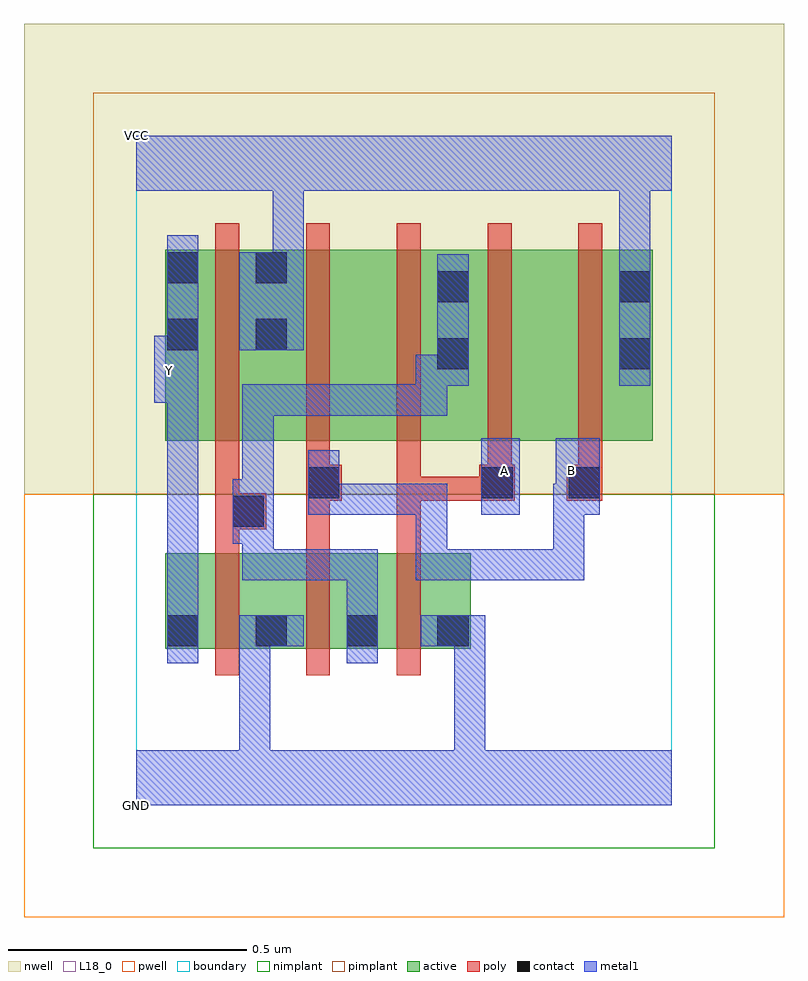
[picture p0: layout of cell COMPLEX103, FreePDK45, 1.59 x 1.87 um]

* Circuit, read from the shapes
.subckt COMPLEX103 A B GND VCC Y
M1 GND n1 Y VSUBS nfet w=0.2u l=0.05u
M2 n1 B GND VSUBS nfet w=0.2u l=0.05u
M3 GND A n1 VSUBS nfet w=0.2u l=0.05u
M4 VCC n1 Y n2 pfet w=0.4u l=0.05u
M5 n3 B VCC n2 pfet w=0.4u l=0.05u
M6 n1 A n3 n2 pfet w=0.4u l=0.05u
M7 n4 A n1 n2 pfet w=0.4u l=0.05u
M8 VCC B n4 n2 pfet w=0.4u l=0.05u
.ends

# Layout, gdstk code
import gdstk
lib = gdstk.Library(unit=1e-6, precision=1e-09)
def R(c, l, rs):  # rectangles x0, y0, x1, y1
    for r in rs: c.add(gdstk.rectangle(r[:2], r[2:], *l))
def A(c, l, x, y, w, h, nx, ny, dx, dy):  # array of equal rectangles
    R(c, l, [(x+i*dx, y+j*dy, x+i*dx+w, y+j*dy+h) for i in range(nx) for j in range(ny)])
active = (1, 0)
pwell = (2, 0)
nwell = (3, 0)
nimplant = (4, 0)
pimplant = (5, 0)
poly = (9, 0)
contact = (10, 0)
metal1 = (11, 0)
L18_0 = (18, 0)
boundary = (235, 0)

complex103 = lib.new_cell('COMPLEX103')
R(complex103, active, [(0.06,0.327,0.135,0.527), (0.06,0.327,0.32,0.527), (0.245,0.327,0.51,0.527), (0.245,0.327,0.32,0.402), (0.435,0.327,0.51,0.527), (0.435,0.327,0.7,0.527), (0.625,0.327,0.7,0.527), (0.06,0.762,0.32,1.162), (0.06,0.762,0.135,1.162), (0.245,0.762,0.475,1.162), (0.475,0.762,0.7,1.162), (0.625,0.762,0.855,1.162), (0.855,0.762,1.08,1.162), (1.005,0.762,1.08,1.122), (0.245,0.907,0.32,1.162), (0.625,0.907,0.7,1.122)])
R(complex103, pwell, [(-0.235,-0.235,1.355,0.65)])
R(complex103, nwell, [(-0.235,0.65,1.355,1.635)])
R(complex103, nimplant, [(-0.09,-0.09,1.21,0.65)])
R(complex103, pimplant, [(-0.09,0.65,1.21,1.49)])
A(complex103, poly, 0.165, 0.272, 0.05, 0.31, 3, 1, 0.19, 0)
A(complex103, poly, 0.165, 0.707, 0.05, 0.51, 5, 1, 0.19, 0)
R(complex103, poly, [(0.165,0.532,0.215,0.627), (0.355,0.532,0.405,0.687), (0.545,0.532,0.595,0.687), (0.165,0.577,0.272,0.652), (0.165,0.602,0.215,0.757), (0.355,0.637,0.43,0.712), (0.545,0.637,0.767,0.687), (0.545,0.637,0.595,0.687), (0.545,0.637,0.595,0.687), (0.545,0.637,0.595,0.687), (0.545,0.637,0.595,0.757), (0.717,0.637,0.792,0.712), (0.9,0.637,0.975,0.712), (0.355,0.662,0.405,0.757), (0.735,0.662,0.785,0.757), (0.925,0.662,0.975,0.757)])
A(complex103, contact, 0.25, 0.332, 0.065, 0.065, 3, 1, 0.19, 0)
R(complex103, contact, [(0.065,0.332,0.13,0.397), (0.202,0.582,0.267,0.647), (0.36,0.642,0.425,0.707), (0.722,0.642,0.787,0.707), (0.905,0.642,0.97,0.707), (0.63,0.912,0.695,0.977), (1.01,0.912,1.075,0.977), (0.065,0.952,0.13,1.017), (0.25,0.952,0.315,1.017), (0.63,1.052,0.695,1.117), (1.01,1.052,1.075,1.117), (0.065,1.092,0.13,1.157), (0.25,1.092,0.315,1.157)])
R(complex103, metal1, [(0,0,1.12,0.115), (0.215,0.05,0.28,0.115), (0.215,0.05,0.28,0.115), (0.215,0.05,0.28,0.115), (0.215,0.05,0.28,0.115), (0.215,0.05,0.28,0.397), (0.665,0.05,0.73,0.115), (0.665,0.05,0.73,0.115), (0.665,0.05,0.73,0.115), (0.665,0.05,0.73,0.115), (0.665,0.05,0.73,0.397), (0.065,0.297,0.13,0.432), (0.44,0.297,0.505,0.432), (0.215,0.332,0.35,0.397), (0.595,0.332,0.73,0.397), (0.065,0.367,0.13,0.907), (0.44,0.367,0.505,0.432), (0.44,0.367,0.505,0.535), (0.222,0.47,0.287,0.535), (0.222,0.47,0.505,0.535), (0.222,0.47,0.287,0.612), (0.585,0.47,0.65,0.535), (0.585,0.47,0.65,0.672), (0.585,0.47,0.805,0.535), (0.74,0.47,0.805,0.535), (0.74,0.47,0.937,0.535), (0.872,0.47,0.937,0.535), (0.872,0.47,0.937,0.672), (0.202,0.547,0.267,0.682), (0.202,0.547,0.287,0.612), (0.222,0.547,0.287,0.612), (0.222,0.547,0.287,0.88), (0.36,0.607,0.512,0.672), (0.36,0.607,0.425,0.742), (0.447,0.607,0.512,0.672), (0.447,0.607,0.65,0.672), (0.585,0.607,0.65,0.672), (0.585,0.607,0.65,0.672), (0.585,0.607,0.65,0.672), (0.722,0.607,0.802,0.767), (0.872,0.607,0.937,0.672), (0.872,0.607,0.942,0.672), (0.877,0.607,0.97,0.767), (0.222,0.815,0.287,0.88), (0.222,0.815,0.405,0.88), (0.34,0.815,0.405,0.88), (0.34,0.815,0.512,0.88), (0.447,0.815,0.512,0.88), (0.447,0.815,0.65,0.88), (0.585,0.815,0.65,0.942), (0.037,0.842,0.13,0.982), (0.585,0.877,0.695,0.942), (0.63,0.877,0.695,1.152), (1.01,0.877,1.075,1.152), (0.065,0.917,0.13,0.982), (0.065,0.917,0.13,1.192), (0.215,0.952,0.35,1.157), (1.01,1.087,1.075,1.35), (0.285,1.092,0.35,1.35), (0,1.285,1.12,1.4), (0.285,1.285,0.35,1.35), (0.285,1.285,0.35,1.35), (1.01,1.285,1.075,1.35), (1.01,1.285,1.075,1.35)])
R(complex103, L18_0, [(0,0,1.12,0.115), (0.215,0.05,0.28,0.115), (0.215,0.05,0.28,0.115), (0.215,0.05,0.28,0.115), (0.215,0.05,0.28,0.115), (0.215,0.05,0.28,0.397), (0.665,0.05,0.73,0.115), (0.665,0.05,0.73,0.115), (0.665,0.05,0.73,0.115), (0.665,0.05,0.73,0.115), (0.665,0.05,0.73,0.397), (0.065,0.297,0.13,0.432), (0.215,0.332,0.35,0.397), (0.595,0.332,0.73,0.397), (0.065,0.367,0.13,0.907), (0.585,0.47,0.65,0.535), (0.585,0.47,0.65,0.672), (0.585,0.47,0.805,0.535), (0.74,0.47,0.805,0.535), (0.74,0.47,0.937,0.535), (0.872,0.47,0.937,0.535), (0.872,0.47,0.937,0.672), (0.36,0.607,0.425,0.742), (0.36,0.607,0.512,0.672), (0.447,0.607,0.512,0.672), (0.447,0.607,0.65,0.672), (0.585,0.607,0.65,0.672), (0.585,0.607,0.65,0.672), (0.585,0.607,0.65,0.672), (0.722,0.607,0.802,0.767), (0.872,0.607,0.937,0.672), (0.872,0.607,0.942,0.672), (0.877,0.607,0.97,0.767), (0.737,0.667,0.802,0.732), (0.877,0.667,0.942,0.732), (0.037,0.842,0.13,0.982), (0.037,0.877,0.102,0.942), (1.01,0.877,1.075,1.152), (0.065,0.917,0.13,1.192), (0.065,0.917,0.13,0.982), (0.215,0.952,0.35,1.157), (1.01,1.087,1.075,1.35), (0.285,1.092,0.35,1.35), (0,1.285,1.12,1.4), (0.285,1.285,0.35,1.35), (0.285,1.285,0.35,1.35), (1.01,1.285,1.075,1.35), (1.01,1.285,1.075,1.35)])
R(complex103, boundary, [(0,0,1.12,1.4)])
complex103.add(gdstk.Label('A', (0.77,0.7), layer=11, texttype=0))
complex103.add(gdstk.Label('B', (0.91,0.7), layer=11, texttype=0))
complex103.add(gdstk.Label('Y', (0.07,0.91), layer=11, texttype=0))
complex103.add(gdstk.Label('VCC', (0,1.4), layer=11, texttype=0))
complex103.add(gdstk.Label('GND', (0,0), layer=11, texttype=0))

lib.write_gds('COMPLEX103.gds')
